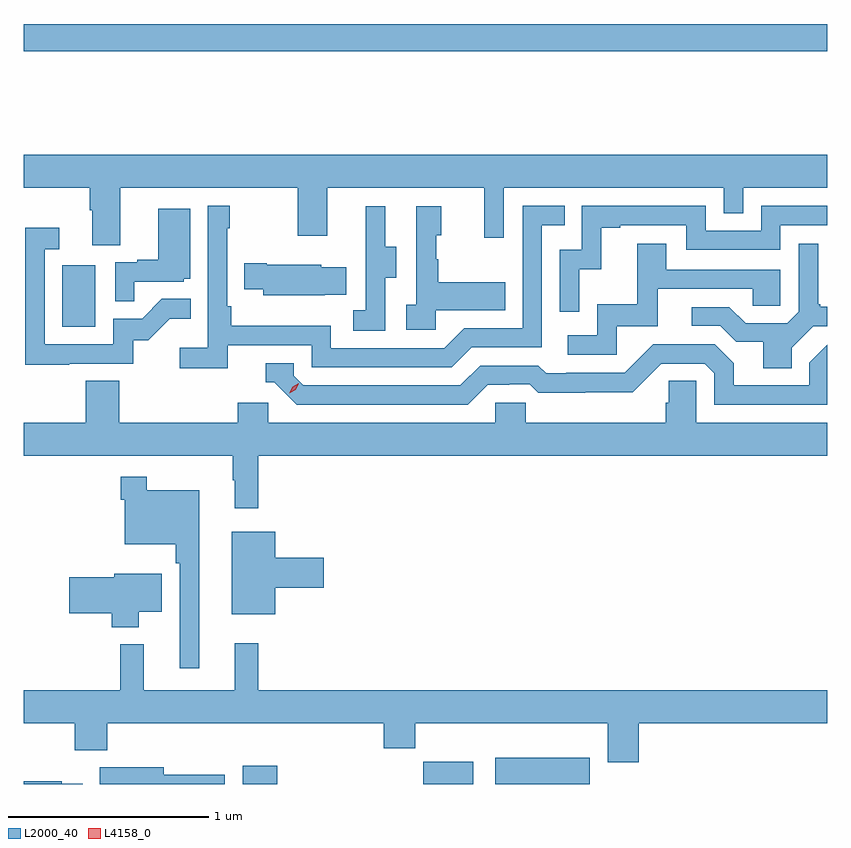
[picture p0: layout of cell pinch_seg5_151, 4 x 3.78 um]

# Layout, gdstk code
import gdstk
lib = gdstk.Library(unit=1e-6, precision=1e-09)
def R(c, l, rs):  # rectangles x0, y0, x1, y1
    for r in rs: c.add(gdstk.rectangle(r[:2], r[2:], *l))
def P(c, l, *ps):  # polygons
    for p in ps: c.add(gdstk.Polygon(p, *l))
L2000_40 = (2000, 40)
L4158_0 = (4158, 0)

pinch_seg5_151 = lib.new_cell('pinch_seg5_151')
R(pinch_seg5_151, L2000_40, [(1090.625,875.105,1090.798,875.197), (1091.524,875.105,1091.773,875.215), (1091.883,875.105,1092.352,875.236), (1089.728,877.38,1089.892,877.687), (1089.535,878.752,1093.535,878.888)])
P(pinch_seg5_151, L2000_40, [(1090.015,878.072),(1090.9,878.072),(1090.9,877.833),(1091.047,877.833),(1091.047,878.072),(1091.828,878.072),(1091.828,877.824),(1091.925,877.824),(1091.925,878.072),(1093.02,878.072),(1093.02,877.945),(1093.116,877.945),(1093.116,878.072),(1093.535,878.072),(1093.535,878.236),(1089.535,878.236),(1089.535,878.072),(1089.863,878.072),(1089.863,877.96),(1089.875,877.96),(1089.875,877.786),(1090.015,877.786)],
  [(1090.55,877.29),(1090.968,877.29),(1090.968,877.179),(1091.665,877.179),(1091.764,877.278),(1092.114,877.278),(1092.114,877.887),(1092.227,877.887),(1092.227,877.983),(1092.018,877.983),(1092.018,877.374),(1091.727,877.374),(1091.628,877.275),(1091.064,877.275),(1091.064,877.387),(1090.568,877.387),(1090.568,877.483),(1090.548,877.483),(1090.548,877.871),(1090.561,877.871),(1090.561,877.984),(1090.452,877.984),(1090.452,877.276),(1090.311,877.276),(1090.311,877.174),(1090.55,877.174)],
  [(1092.3,877.667),(1092.41,877.667),(1092.41,877.875),(1092.505,877.875),(1092.505,877.887),(1092.834,877.887),(1092.834,877.764),(1093.302,877.764),(1093.302,877.887),(1093.535,877.887),(1093.535,877.983),(1093.206,877.983),(1093.206,877.86),(1092.93,877.86),(1092.93,877.983),(1092.312,877.983),(1092.312,877.764),(1092.204,877.764),(1092.204,877.455),(1092.3,877.455)],
  [(1091.586,877.463),(1091.933,877.463),(1091.933,877.603),(1091.599,877.603),(1091.599,877.718),(1091.589,877.718),(1091.589,877.836),(1091.614,877.836),(1091.614,877.981),(1091.49,877.981),(1091.49,877.49),(1091.439,877.49),(1091.439,877.365),(1091.586,877.365)],
  [(1091.334,877.624),(1091.389,877.624),(1091.389,877.779),(1091.335,877.779),(1091.335,877.981),(1091.237,877.981),(1091.237,877.767),(1091.238,877.767),(1091.238,877.463),(1091.175,877.463),(1091.175,877.36),(1091.334,877.36)],
  [(1090.085,877.605),(1090.332,877.605),(1090.332,877.62),(1090.363,877.62),(1090.363,877.969),(1090.205,877.969),(1090.205,877.714),(1090.101,877.714),(1090.101,877.701),(1089.99,877.701),(1089.99,877.507),(1090.085,877.507)],
  [(1089.761,877.197),(1090.08,877.197),(1090.08,877.314),(1090.156,877.314),(1090.263,877.421),(1090.367,877.421),(1090.367,877.52),(1090.223,877.52),(1090.125,877.422),(1089.981,877.422),(1089.981,877.293),(1089.639,877.293),(1089.639,877.767),(1089.712,877.767),(1089.712,877.873),(1089.543,877.873),(1089.543,877.192),(1089.761,877.192)],
  [(1093.357,877.276),(1093.464,877.383),(1093.535,877.383),(1093.535,877.48),(1093.501,877.48),(1093.501,877.492),(1093.489,877.492),(1093.489,877.795),(1093.392,877.795),(1093.392,877.455),(1093.335,877.398),(1093.129,877.398),(1093.048,877.479),(1092.861,877.479),(1092.861,877.386),(1093.002,877.386),(1093.082,877.306),(1093.217,877.306),(1093.217,877.174),(1093.357,877.174)],
  [(1092.486,877.383),(1092.691,877.383),(1092.691,877.569),(1093.165,877.569),(1093.165,877.485),(1093.302,877.485),(1093.302,877.665),(1092.733,877.665),(1092.733,877.795),(1092.589,877.795),(1092.589,877.492),(1092.39,877.492),(1092.39,877.338),(1092.243,877.338),(1092.243,877.242),(1092.486,877.242)],
  [(1091.033,877.541),(1091.141,877.541),(1091.141,877.678),(1091.016,877.678),(1091.016,877.69),(1090.744,877.69),(1090.744,877.698),(1090.633,877.698),(1090.633,877.568),(1090.727,877.568),(1090.727,877.538),(1091.033,877.538)],
  [(1091.845,877.092),(1091.952,877.092),(1091.952,877.095),(1092.055,877.095),(1092.097,877.053),(1092.33,877.053),(1092.33,877.055),(1092.566,877.055),(1092.708,877.197),(1092.924,877.197),(1092.972,877.149),(1092.972,876.993),(1093.535,876.993),(1093.535,877.292),(1093.446,877.203),(1093.446,877.089),(1093.069,877.089),(1093.069,877.199),(1092.975,877.293),(1092.669,877.293),(1092.528,877.152),(1092.235,877.152),(1092.235,877.149),(1092.136,877.149),(1092.097,877.188),(1091.808,877.188),(1091.709,877.089),(1090.926,877.089),(1090.878,877.137),(1090.878,877.2),(1090.739,877.2),(1090.739,877.104),(1090.782,877.104),(1090.893,876.993),(1091.746,876.993)],
  [(1090.703,876.74),(1093.535,876.74),(1093.535,876.904),(1092.882,876.904),(1092.882,877.112),(1092.745,877.112),(1092.745,877.002),(1092.731,877.002),(1092.731,876.904),(1092.033,876.904),(1092.033,877.002),(1091.883,877.002),(1091.883,876.904),(1090.752,876.904),(1090.752,877.002),(1090.601,877.002),(1090.601,876.904),(1090.01,876.904),(1090.01,877.112),(1089.845,877.112),(1089.845,876.904),(1089.535,876.904),(1089.535,876.74),(1090.575,876.74),(1090.575,876.617),(1090.586,876.617),(1090.586,876.477),(1090.703,876.477)],
  [(1090.408,876.568),(1090.147,876.568),(1090.147,876.634),(1090.018,876.634),(1090.018,876.521),(1090.038,876.521),(1090.038,876.299),(1090.291,876.299),(1090.291,876.203),(1090.311,876.203),(1090.311,875.682),(1090.408,875.682)],
  [(1090.786,876.083),(1091.029,876.083),(1091.029,876.23),(1090.786,876.23),(1090.786,876.361),(1090.571,876.361),(1090.571,875.951),(1090.786,875.951)],
  [(1090.108,875.963),(1090.222,875.963),(1090.222,876.151),(1089.986,876.151),(1089.986,876.134),(1089.762,876.134),(1089.762,875.956),(1089.974,875.956),(1089.974,875.885),(1090.108,875.885)],
  [(1092.596,875.408),(1093.535,875.408),(1093.535,875.572),(1090.703,875.572),(1090.703,875.806),(1090.586,875.806),(1090.586,875.572),(1090.133,875.572),(1090.133,875.8),(1090.015,875.8),(1090.015,875.572),(1089.535,875.572),(1089.535,875.408),(1089.79,875.408),(1089.79,875.273),(1089.95,875.273),(1089.95,875.408),(1091.327,875.408),(1091.327,875.284),(1091.483,875.284),(1091.483,875.408),(1092.443,875.408),(1092.443,875.214),(1092.596,875.214)],
  [(1090.536,875.15),(1090.231,875.15),(1090.231,875.188),(1089.913,875.188),(1089.913,875.105),(1090.536,875.105)],
  [(1089.828,875.107),(1089.725,875.107),(1089.725,875.119),(1089.535,875.119),(1089.535,875.105),(1089.828,875.105)])
P(pinch_seg5_151, L4158_0, [(1090.857,877.049),(1090.857,877.049),(1090.873,877.082),(1090.904,877.101),(1090.904,877.101),(1090.904,877.101),(1090.888,877.068),(1090.858,877.049)])

lib.write_gds('pinch_seg5_151.gds')
